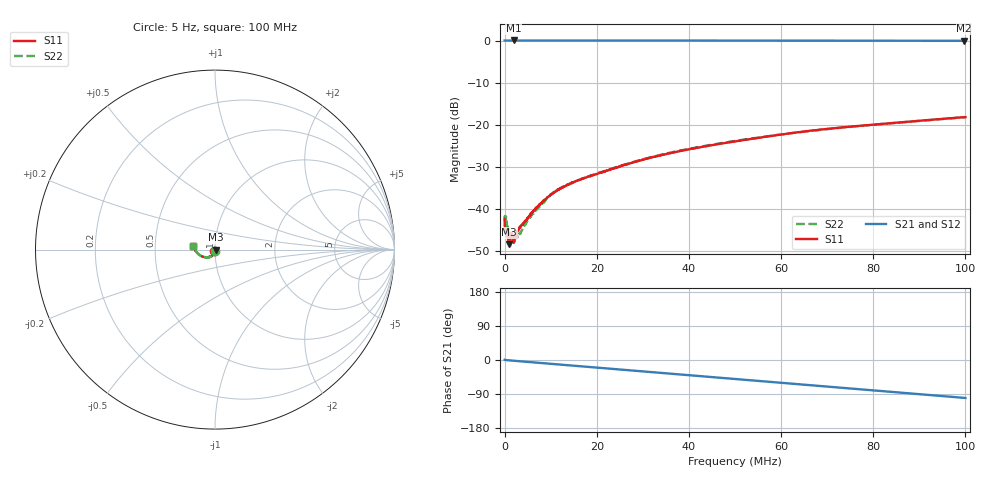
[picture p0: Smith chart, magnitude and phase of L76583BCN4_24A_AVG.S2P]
!Agilent Technologies,E5061B,MY49102235,A.02.00
!Date: Tue Jul 11 17:12:17 2023
!Data & Calibration Information:
!Freq	S11:SOLT2(ON)	S21:SOLT2(ON)	S12:SOLT2(ON)	S22:SOLT2(ON)
# Hz S RI R 50
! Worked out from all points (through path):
!   1600 points, 5 Hz to 100 MHz, reference 50 ohm
!   highest |S21| = 0.02 dB at 2.001 MHz (marker M1); lowest = -0.1 dB at 99.75 MHz (marker M2)
!   group delay of S21, straight-line fit = 2.78 ns
!   lowest |S11| = -48.4 dB at 1.001 MHz (marker M3), VSWR 1.01, Z = 50.4 - j0.0887 ohm
!   |S11| at or under -10 dB: start of sweep to end of sweep
!   |S22| runs from -48.8 to -18.2 dB; largest |S21 - S12| = 0.0028
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5  -0.0051 -0.00564  1.002 0.00795  1.001 0.0103  -0.00134 -0.00755
187622.3  0.00549 -0.000323  1 -0.00214  1.001 -0.000866  0.00738 -0.0024
625395.8  0.00512 -0.000697  1.002 -0.0105  1.002 -0.00992  0.00612 -0.00104
1000630  0.0037 -0.00088  1.001 -0.0165  1.001 -0.0157  0.00507 -0.0018
1563482  0.00428 -0.00305  1.001 -0.0264  1.001 -0.0251  0.00309 -0.00362
2001256  0.00296 -0.00299  1.002 -0.0352  1.001 -0.0344  0.00311 -0.00272
2376490  0.00323 -0.00319  1 -0.0413  1 -0.0411  0.00388 -0.00288
3064420  0.00408 -0.00395  1 -0.0535  0.999 -0.0529  0.00297 -0.00382
6003757  0.0032 -0.00839  0.9956 -0.1048  0.9954 -0.1041  0.00277 -0.00821
8880555  0.00182 -0.013  0.9892 -0.155  0.989 -0.1541  0.00112 -0.0127
1.025641e7  0.000689 -0.0149  0.9852 -0.1786  0.9849 -0.1779  -9.1e-05 -0.0151
1.156974e7  -0.000257 -0.0169  0.9809 -0.2012  0.9804 -0.2005  -0.00117 -0.017
1.669794e7  -0.00433 -0.0222  0.9582 -0.2882  0.958 -0.2875  -0.00473 -0.0223
2.582865e7  -0.0122 -0.0306  0.9003 -0.4369  0.9 -0.4363  -0.0101 -0.0318
3.333334e7  -0.0216 -0.0369  0.8348 -0.5508  0.8347 -0.5501  -0.0202 -0.038
4.033771e7  -0.0316 -0.0408  0.7609 -0.6483  0.7609 -0.6476  -0.0311 -0.0419
5.003127e7  -0.0468 -0.0427  0.6403 -0.7672  0.6403 -0.7665  -0.047 -0.0436
6.672921e7  -0.0776 -0.0359  0.3914 -0.9174  0.3919 -0.9171  -0.0767 -0.0359
8.33646e7  -0.1031 -0.0125  0.1122 -0.9894  0.1124 -0.9892  -0.1024 -0.0145
9.155722e7  -0.1133 0.00331  -0.0303 -0.9941  -0.0299 -0.9939  -0.113 0.000102
9.974984e7  -0.1213 0.021  -0.1716 -0.9783  -0.171 -0.9783  -0.1208 0.0181
1e8  -0.1214 0.0215  -0.1759 -0.9777  -0.1754 -0.9776  -0.1212 0.0188
